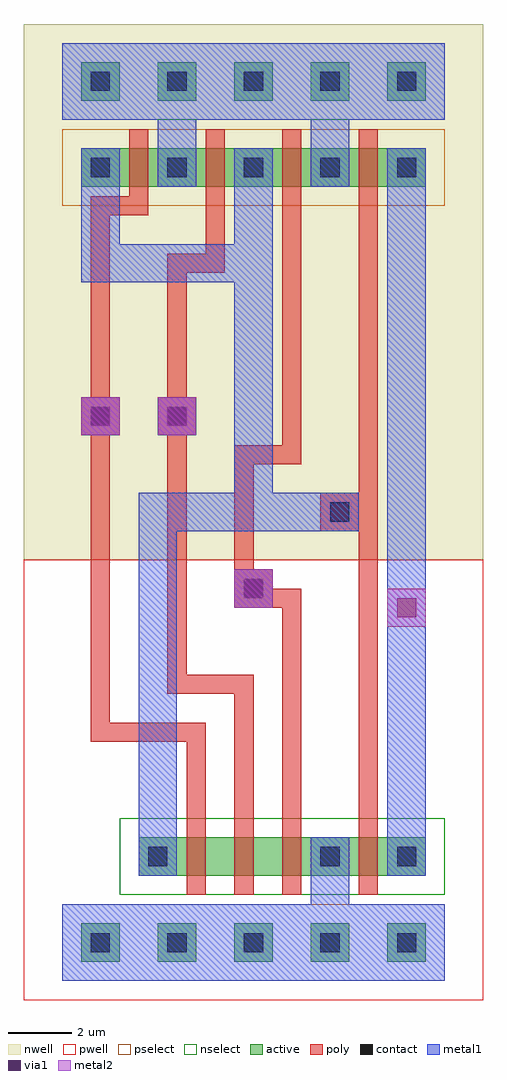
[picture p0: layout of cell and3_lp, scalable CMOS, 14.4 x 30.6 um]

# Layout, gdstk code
import gdstk
lib = gdstk.Library(unit=1e-6, precision=1e-09)
def R(c, l, rs):  # rectangles x0, y0, x1, y1
    for r in rs: c.add(gdstk.rectangle(r[:2], r[2:], *l))
def A(c, l, x, y, w, h, nx, ny, dx, dy):  # array of equal rectangles
    R(c, l, [(x+i*dx, y+j*dy, x+i*dx+w, y+j*dy+h) for i in range(nx) for j in range(ny)])
contact = (25, 0)
pwell = (41, 0)
nwell = (42, 0)
active = (43, 0)
pselect = (44, 0)
nselect = (45, 0)
poly = (46, 0)
metal1 = (49, 0)
via1 = (50, 0)
metal2 = (51, 0)

and3_lp = lib.new_cell('and3_lp')
A(and3_lp, contact, 0.3, -0.3, 0.6, 0.6, 5, 2, 2.4, 24.3)
A(and3_lp, contact, 0.3, 26.7, 0.6, 0.6, 5, 1, 2.4, 0)
R(and3_lp, contact, [(2.1,2.4,2.7,3), (7.5,2.4,8.1,3), (9.9,2.4,10.5,3), (5.1,10.8,5.7,11.4), (5.1,10.8,5.7,11.4), (7.8,13.2,8.4,13.8), (0.3,16.2,0.9,16.8), (2.7,16.2,3.3,16.8)])
A(and3_lp, pwell, -0.9, -1.5, 3, 3, 5, 1, 2.4, 0)
A(and3_lp, pwell, 0.6, 0.3, 6, 4.8, 3, 1, 1.5, 0)
R(and3_lp, pwell, [(-1.8,-1.8,12.6,12), (0,0.3,4.8,5.1), (5.4,0.3,10.2,5.1), (6,0.3,12,5.1), (7.8,0.3,12.6,5.1), (0.15,0.45,4.725,4.95), (1.725,0.45,6.975,4.95), (3.225,0.45,8.475,4.95), (5.475,0.45,10.05,4.95), (5.55,0.45,10.125,4.95), (7.875,0.45,12.45,4.95)])
A(and3_lp, nwell, -1.8, 21.9, 4.8, 4.8, 5, 1, 2.4, 0)
A(and3_lp, nwell, -1.2, 21.9, 6, 4.8, 4, 1, 2.4, 0)
A(and3_lp, nwell, -0.9, 25.5, 3, 3, 5, 1, 2.4, 0)
R(and3_lp, nwell, [(-1.8,12,12.6,28.8), (-1.65,22.05,2.925,26.55), (0.675,22.05,5.25,26.55), (0.75,22.05,5.325,26.55), (3.075,22.05,7.65,26.55), (3.15,22.05,7.725,26.55), (5.475,22.05,10.05,26.55), (5.55,22.05,10.125,26.55), (7.875,22.05,12.45,26.55)])
A(and3_lp, active, 0, -0.6, 1.2, 1.2, 5, 2, 2.4, 24.3)
A(and3_lp, active, 2.4, 2.1, 2.4, 1.2, 3, 1, 1.5, 0)
A(and3_lp, active, 0.6, 23.7, 2.4, 1.2, 4, 1, 2.4, 0)
A(and3_lp, active, 0, 26.4, 1.2, 1.2, 5, 1, 2.4, 0)
R(and3_lp, active, [(1.8,2.1,3,3.3), (7.2,2.1,8.4,3.3), (7.8,2.1,10.2,3.3), (9.6,2.1,10.8,3.3), (1.95,2.25,2.925,3.15), (3.525,2.25,5.175,3.15), (5.025,2.25,6.675,3.15), (7.275,2.25,8.25,3.15), (7.35,2.25,8.325,3.15), (9.675,2.25,10.65,3.15), (0.15,23.85,1.125,24.75), (2.475,23.85,3.45,24.75), (2.55,23.85,3.525,24.75), (4.875,23.85,5.85,24.75), (4.95,23.85,5.925,24.75), (7.275,23.85,8.25,24.75), (7.35,23.85,8.325,24.75), (9.675,23.85,10.65,24.75)])
A(and3_lp, pselect, -0.6, -1.2, 2.4, 2.4, 5, 2, 2.4, 24.3)
A(and3_lp, pselect, 0, 23.1, 3.6, 2.4, 4, 1, 2.4, 0)
R(and3_lp, pselect, [(-0.45,23.25,1.725,25.35), (1.875,23.25,4.05,25.35), (1.95,23.25,4.125,25.35), (4.275,23.25,6.45,25.35), (4.35,23.25,6.525,25.35), (6.675,23.25,8.85,25.35), (6.75,23.25,8.925,25.35), (9.075,23.25,11.25,25.35)])
A(and3_lp, nselect, 1.8, 1.5, 3.6, 2.4, 3, 1, 1.5, 0)
A(and3_lp, nselect, -0.6, 25.8, 2.4, 2.4, 5, 1, 2.4, 0)
R(and3_lp, nselect, [(1.2,1.5,3.6,3.9), (6.6,1.5,9,3.9), (7.2,1.5,10.8,3.9), (9,1.5,11.4,3.9), (1.35,1.65,3.525,3.75), (2.925,1.65,5.775,3.75), (4.425,1.65,7.275,3.75), (6.675,1.65,8.85,3.75), (6.75,1.65,8.925,3.75), (9.075,1.65,11.25,3.75)])
A(and3_lp, poly, 3.3, 1.5, 0.6, 2.4, 3, 1, 1.5, 0)
A(and3_lp, poly, 1.5, 23.1, 0.6, 2.4, 4, 1, 2.4, 0)
R(and3_lp, poly, [(8.7,1.5,9.3,3.9), (3.3,3.6,3.9,6.9), (4.8,3.6,5.4,8.4), (6.3,3.6,6.9,11.1), (8.7,3.6,9.3,13.8), (0.3,6.3,0.9,16.8), (0.3,6.3,3.9,6.9), (2.7,7.8,3.3,16.8), (2.7,7.8,5.4,8.4), (4.8,10.5,6,11.7), (4.8,10.5,6,11.7), (5.1,10.5,6.9,11.1), (5.1,10.5,5.7,11.4), (4.8,10.8,5.7,11.4), (4.8,10.8,5.4,15.6), (5.1,10.8,5.7,11.4), (7.5,12.9,8.7,14.1), (7.8,13.2,9.3,13.8), (8.7,13.2,9.3,23.4), (4.8,15,6.9,15.6), (6.3,15,6.9,23.4), (0,15.9,1.2,17.1), (2.4,15.9,3.6,17.1), (0.3,16.2,0.9,23.4), (2.7,16.2,3.6,16.8), (2.7,16.2,3.3,21.6), (2.7,21,4.5,21.6), (3.9,21,4.5,23.4), (0.3,22.8,2.1,23.4)])
A(and3_lp, metal1, -0.6, -1.2, 4.8, 2.4, 4, 1, 2.4, 0)
A(and3_lp, metal1, 0, -0.6, 1.2, 1.2, 5, 2, 2.4, 24.3)
A(and3_lp, metal1, 0, 26.4, 1.2, 1.2, 4, 1, 2.4, 0)
R(and3_lp, metal1, [(-0.6,-1.2,1.8,1.2), (-0.6,-1.2,4.2,1.2), (7.2,-0.6,8.4,3.3), (1.8,2.1,3,3.3), (1.8,2.1,3,14.1), (7.2,2.1,8.4,3.3), (9.6,2.1,10.8,3.3), (9.6,2.1,10.8,11.1), (9.6,9.9,10.8,11.1), (9.6,9.9,10.8,24.9), (4.8,10.5,6,11.7), (4.8,10.5,6,11.7), (4.8,10.5,6,11.7), (4.95,10.65,5.85,11.55), (1.8,12.9,6,14.1), (4.8,12.9,6,21.9), (4.8,12.9,8.7,14.1), (7.5,12.9,8.7,14.1), (0,15.9,1.2,17.1), (0,15.9,1.2,17.1), (2.4,15.9,3.6,17.1), (2.4,15.9,3.6,17.1), (0.15,16.05,1.05,16.95), (2.55,16.05,3.45,16.95), (0,20.7,1.2,24.9), (0,20.7,6,21.9), (4.8,20.7,6,24.9), (2.4,23.7,3.6,27.6), (7.2,23.7,8.4,27.6), (-0.6,25.8,1.8,28.2), (-0.6,25.8,4.2,28.2), (1.8,25.8,9,28.2), (6.6,25.8,11.4,28.2), (0,26.4,1.2,27.6), (4.8,26.4,8.4,27.6), (7.2,26.4,8.4,27.6), (9.6,26.4,10.8,27.6), (9.6,26.4,10.8,27.6)])
R(and3_lp, via1, [(9.9,10.2,10.5,10.8), (5.1,10.8,5.7,11.4), (0.3,16.2,0.9,16.8), (2.7,16.2,3.3,16.8)])
R(and3_lp, metal2, [(9.6,9.9,10.8,11.1), (4.8,10.5,6,11.7), (0,15.9,1.2,17.1), (2.4,15.9,3.6,17.1)])

lib.write_gds('and3_lp.gds')
